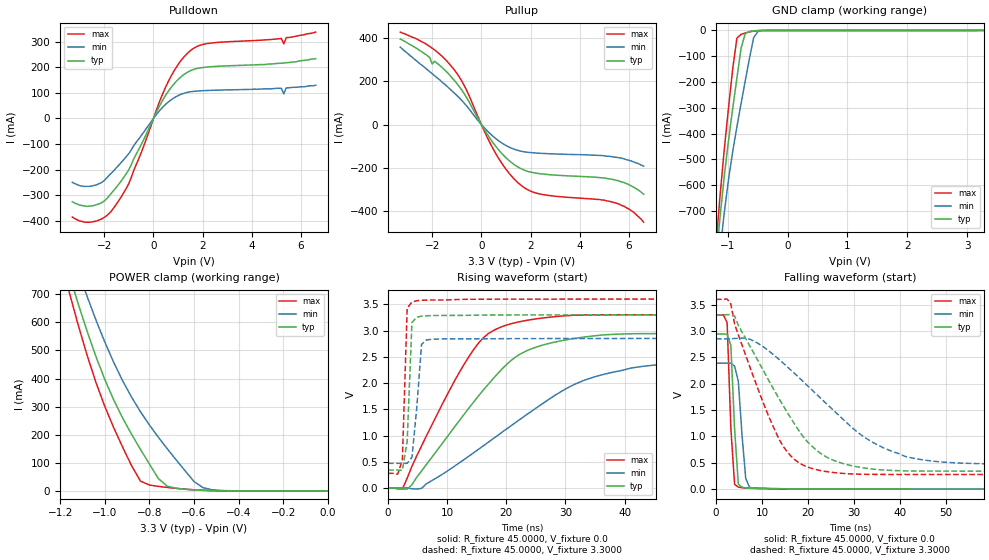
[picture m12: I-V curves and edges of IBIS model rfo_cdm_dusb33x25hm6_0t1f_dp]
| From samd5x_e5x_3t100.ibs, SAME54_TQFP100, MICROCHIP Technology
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|   MODEL : rfo_cdm_dusb33x25hm6_0t1f_dp
[Model] rfo_cdm_dusb33x25hm6_0t1f_dp
Model_type I/O
Polarity   Non-Inverting
Enable   Active-Low
Vinl =   0.8000V
Vinh =   1.3000V
Vmeas =  0.0V
C_comp   5.0000pF   5.0000pF   5.0000pF
[Temperature Range]   25.0000   0.1250k   -40.0000
[Voltage Range]   3.3000V   2.8500V   3.6000V
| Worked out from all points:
|   slope of the pulldown table from 0 to 0.495 V, typ, clamps not added: 5.48 ohm
|   slope of the pullup table from 0 to 0.495 V, typ, clamps not added: 5.65 ohm
|   GND clamp passes 1 mA (typ) near -0.52 V on its own axis
|   POWER clamp passes 1 mA (typ) near -0.51 V on its own axis
|   rising waveform, R_fixture 45.0000, V_fixture 0.0: 20-80 % time 12.6ns typ, 18.4ns min, 9.44ns max; typ from 0 V to 2.94 V
|   rising waveform, R_fixture 45.0000, V_fixture 3.3000: 20-80 % time 635ps typ, 1.07ns min, 559ps max; typ from 0.342 V to 3.3 V
|   falling waveform, R_fixture 45.0000, V_fixture 0.0: 20-80 % time 1.05ns typ, 1.24ns min, 979ps max; typ from 2.94 V to 0 V
|   falling waveform, R_fixture 45.0000, V_fixture 3.3000: 20-80 % time 12.1ns typ, 18.1ns min, 8.91ns max; typ from 3.3 V to 0.342 V
[Pulldown]
|Voltage   I(typ)   I(min)   I(max)
-3.3V     -326mA     -250mA     -386mA
-2.4V     -340mA     -262mA     -403mA
-2V       -323mA     -243mA     -387mA
-1.6V     -280mA     -203mA     -348mA
-1V       -199.8mA   -137mA     -254.3mA
600mV     105.7mA    64.03mA    143.9mA
1.5V      186.8mA    104.4mA    265.1mA
2.6V      204.1mA    110.8mA    297.5mA
5.2V      216mA      118mA      313mA
5.3V      217mA      96mA       292mA
5.4V      218mA      120mA      316mA
6.6V      234mA      130mA      338mA
[Pullup]
|Voltage   I(typ)   I(min)   I(max)
-3.3V     397mA      359mA      429mA
-2.2V     320mA      255mA      370mA
-2V       281mA      236mA      354mA
-1.9V     294mA      226mA      346mA
-1.1V     204.8mA    146.1mA    253.6mA
-600mV    124.9mA    86.36mA    159mA
600mV     -103.2mA   -66.52mA   -137.5mA
1.1V      -164.4mA   -103.1mA   -222.2mA
1.6V      -203.9mA   -123.3mA   -280.7mA
2.4V      -228.3mA   -133.4mA   -322.6mA
5.5V      -259mA     -152mA     -365mA
6.6V      -323mA     -193mA     -453mA
[GND_clamp]
|Voltage   I(typ)   I(min)   I(max)
-3.3V     -7.362A    -7.791A    -7.851A
-1.2V     -892.8mA   -1.02A     -833.3mA
-1.13V    -719mA     -852.6mA   -636.2mA
-1.06V    -562.8mA   -704.4mA   -458.3mA
-990mV    -426mA     -577.7mA   -298.9mA
-920mV    -302.5mA   -469.8mA   -148.5mA
-850mV    -184.9mA   -373.8mA   -29.89mA
-780mV    -68.43mA   -283.2mA   -14.97mA
-710mV    -11.66mA   -195.1mA   -9.81mA
-570mV    -1.996mA   -28.02mA   -2.534mA
-500mV    -621.9uA   -4.41mA    -664.9uA
3.28V     414.4pA    490.6uA    403.3pA
[POWER_clamp]
|Voltage   I(typ)   I(min)   I(max)
-3.28V    7.541A     7.017A     8.21A
-1.16V    772.2mA    877.6mA    709.1mA
-1.12V    668.3mA    783.8mA    593.1mA
-1.08V    570.2mA    694.1mA    484.9mA
-1.04V    479.2mA    609.2mA    387.1mA
-960mV    324mA      457.5mA    225mA
-840mV    147.7mA    281.9mA    34.84mA
-760mV    44.04mA    191.2mA    16.04mA
-720mV    16.86mA    150mA      12.34mA
-600mV    3.803mA    33.54mA    3.999mA
-560mV    2.278mA    11.71mA    2.229mA
0V        420.2pA    4.803nA    446.5pA
[Ramp]
| variable   typ   min   max
dV/dt_r  1.7658/12.4927n   1.4340/18.1990n   1.9806/9.3395n
dV/dt_f  1.7750/11.9959n   1.4276/17.9483n   1.9927/8.8178n
R_load = 45.0000
[Rising Waveform]
R_fixture= 45.0000
V_fixture= 0.0
V_fixture_min= 0.0
V_fixture_max= 0.0
|time   V(typ)   V(min)   V(max)
0s        0V         0V         0V
2.42ns    -16.76mV   0V         -19.89mV
4.04ns    61.84mV    -15.58mV   413.9mV
13.74ns   1.533V     612mV      2.515V
16.16ns   1.873V     807.9mV    2.868V
19.39ns   2.281V     1.072V     3.079V
26.67ns   2.739V     1.649V     3.246V
33.13ns   2.876V     2.05V      3.297V
41.21ns   2.939V     2.288V     3.301V
80ns      2.943V     2.39V      3.301V
[Rising Waveform]
R_fixture= 45.0000
V_fixture= 3.3000
V_fixture_min= 2.8500
V_fixture_max= 3.6000
|time   V(typ)   V(min)   V(max)
0s        341.6mV    469.6mV    278.8mV
1.62ns    341.6mV    469.6mV    262.1mV
2.42ns    338.2mV    469.6mV    534.2mV
3.23ns    887.3mV    470.3mV    3.422V
4.04ns    3.151V     585.4mV    3.546V
4.85ns    3.256V     1.529V     3.568V
5.66ns    3.274V     2.735V     3.577V
6.46ns    3.281V     2.819V     3.58V
10.51ns   3.288V     2.842V     3.586V
80ns      3.3V       2.85V      3.6V
[Falling Waveform]
R_fixture= 45.0000
V_fixture= 0.0
V_fixture_min= 0.0
V_fixture_max= 0.0
|time   V(typ)   V(min)   V(max)
0s        2.943V     2.391V     3.301V
1.62ns    2.943V     2.391V     3.306V
2.42ns    2.939V     2.391V     3.157V
3.23ns    2.726V     2.391V     1.156V
4.04ns    1.145V     2.335V     92.61mV
4.85ns    96.05mV    2.045V     40.01mV
5.66ns    37.42mV    1.021V     26.85mV
6.46ns    22.67mV    203.4mV    21.74mV
7.27ns    17.17mV    37.29mV    19.56mV
80ns      4.594uV    18.59uV    2.735uV
[Falling Waveform]
R_fixture= 45.0000
V_fixture= 3.3000
V_fixture_min= 2.8500
V_fixture_max= 3.6000
|time   V(typ)   V(min)   V(max)
0s        3.3V       2.85V      3.6V
2.42ns    3.311V     2.85V      3.606V
3.23ns    3.31V      2.85V      3.512V
4.04ns    3.285V     2.859V     3.132V
8.08ns    2.602V     2.815V     2.146V
13.74ns   1.71V      2.458V     941.4mV
19.39ns   945.4mV    2.003V     437.6mV
27.47ns   488.9mV    1.336V     299.6mV
41.21ns   346.7mV    618.7mV    278.9mV
80ns      341.6mV    470.6mV    278.8mV
